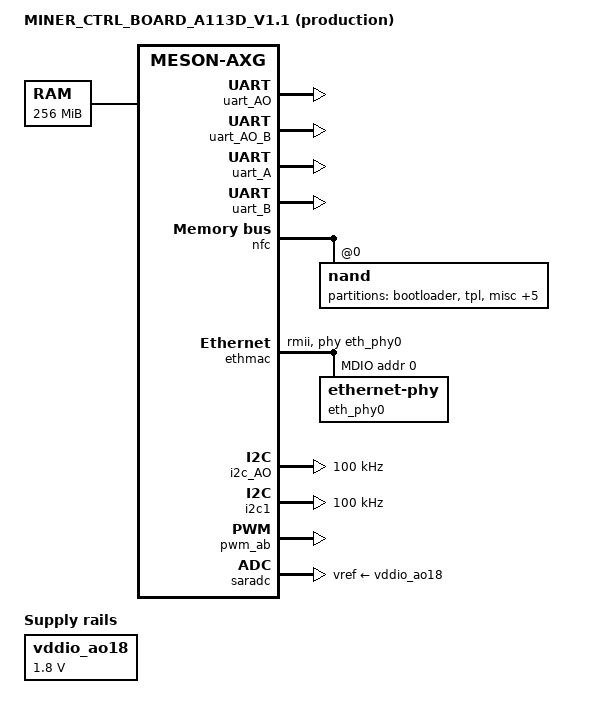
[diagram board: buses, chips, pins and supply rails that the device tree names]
// SPDX-License-Identifier: (GPL-2.0+ OR MIT)
/dts-v1/;

#include "meson-axg.dtsi"

/ {
	model = "MINER_CTRL_BOARD_A113D_V1.1 (production)";
	compatible = "a113d-devboard,miner-ctrl-board-a113d-v1.1",
		     "a113d-devboard,miner-control-board",
		     "amlogic,a113d", "amlogic,meson-axg";

	aliases {
		serial0 = &uart_AO;
		serial1 = &uart_A;
		serial2 = &uart_B;
		serial3 = &uart_AO_B;
	};

	chosen {
		stdout-path = "serial0:115200n8";
	};

	memory@0 {
		device_type = "memory";
		reg = <0x0 0x0 0x0 0x10000000>;
	};

	vddio_ao18: regulator-vddio-ao18 {
		compatible = "regulator-fixed";
		regulator-name = "VDDIO_AO18";
		regulator-min-microvolt = <1800000>;
		regulator-max-microvolt = <1800000>;
		regulator-always-on;
	};
};

/*
 * Expose the live-qualified hierarchical IRQ bridge only on the periphs GPIO
 * chip. AXG provides eight shared GPIO IRQ mux channels. The AO GPIO chip is
 * deliberately left outside this production contract.
 */
&gpio {
	interrupt-controller;
	#interrupt-cells = <2>;
	interrupt-parent = <&gpio_intc>;
};

&uart_AO {
	status = "okay";
	pinctrl-0 = <&uart_ao_a_pins>;
	pinctrl-names = "default";
};

&uart_AO_B {
	status = "okay";
	pinctrl-0 = <&uart_ao_b_pins>;
	pinctrl-names = "default";
};

&uart_A {
	status = "okay";
	pinctrl-0 = <&uart_a_pins>, <&uart_a_cts_rts_pins>;
	pinctrl-names = "default";
	uart-has-rtscts;
};

&uart_B {
	status = "okay";
	pinctrl-0 = <&uart_b_z_pins>;
	pinctrl-names = "default";
};

/*
 * The offsets are taken from the live vendor 4.9 partition table. The private
 * Amlogic nenv journal is exposed read-only for the userspace reader; the
 * remaining FIP/NBBT gaps have no Linux partition. Only boot and nvdata are
 * writable; the boot-chain partitions and nenv stay guarded.
 */
&nfc {
	status = "okay";

	nand@0 {
		reg = <0>;
		/* Use the live-validated NAND STATUS/RB_IO6 ready path. */
		nand-ecc-mode = "hw";
		nand-ecc-step-size = <512>;
		nand-ecc-strength = <8>;
		amlogic,legacy-nbbt = <20 4>;

		partitions {
			compatible = "fixed-partitions";
			#address-cells = <1>;
			#size-cells = <1>;

			partition@0 {
				label = "bootloader";
				reg = <0x00000000 0x00200000>;
				read-only;
			};

			partition@800000 {
				label = "tpl";
				reg = <0x00800000 0x00800000>;
				read-only;
			};

			partition@1000000 {
				label = "misc";
				reg = <0x01000000 0x00200000>;
				read-only;
			};

			partition@1200000 {
				label = "recovery";
				reg = <0x01200000 0x01000000>;
				read-only;
			};

			partition@2200000 {
				label = "boot";
				reg = <0x02200000 0x02000000>;
			};

			partition@4200000 {
				label = "config";
				reg = <0x04200000 0x00500000>;
				read-only;
			};

			partition@4700000 {
				label = "nvdata";
				reg = <0x04700000 0x0b900000>;
			};

			/*
			 * Keep this physically earlier range last in source order. The MTD
			 * fixed-partition parser registers children in DT order, preserving
			 * the qualified boot=mtd4 and nvdata=mtd6 userspace ABI while nenv
			 * becomes mtd7. The journal is not one fixed environment blob and
			 * intentionally has no NVMEM or u-boot,env compatible.
			 */
			partition@300000 {
				label = "nenv-journal-ro";
				reg = <0x00300000 0x00100000>;
				read-only;
			};
		};
	};
};

&ethmac {
	status = "okay";
	pinctrl-0 = <&eth_rmii_y_pins>;
	pinctrl-names = "default";
	phy-handle = <&eth_phy0>;
	phy-mode = "rmii";

	mdio {
		compatible = "snps,dwmac-mdio";
		#address-cells = <1>;
		#size-cells = <0>;

		eth_phy0: ethernet-phy@0 {
			reg = <0>;
		};
	};
};

&i2c_AO {
	status = "okay";
	clock-frequency = <100000>;
	pinctrl-0 = <&i2c_ao_sck_10_pins>, <&i2c_ao_sda_11_pins>;
	pinctrl-names = "default";
};

&i2c1 {
	status = "okay";
	clock-frequency = <100000>;
	pinctrl-0 = <&i2c1_z_pins>;
	pinctrl-names = "default";
};

&pwm_ab {
	status = "okay";
	pinctrl-0 = <&pwm_a_a_pins>, <&pwm_b_a_pins>;
	pinctrl-names = "default";
};

&saradc {
	status = "okay";
	vref-supply = <&vddio_ao18>;
};

/* USB remains isolated until its board-level power and role wiring is tested. */
&usb {
	status = "disabled";
};

&pcie_phy {
	status = "disabled";
};

&ge2d {
	status = "disabled";
};
